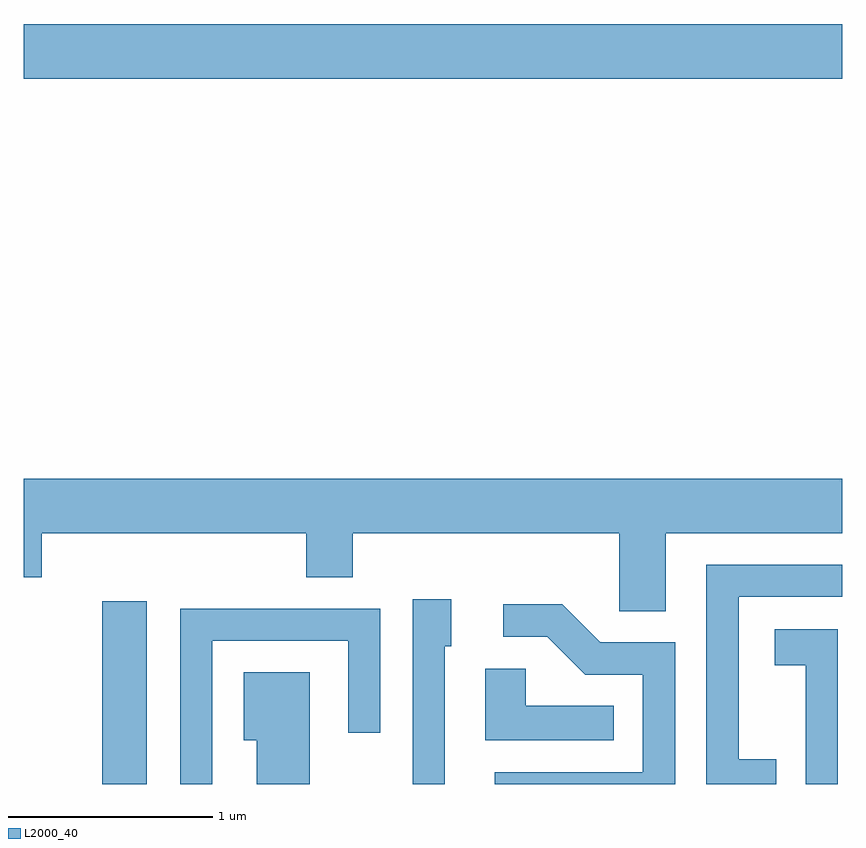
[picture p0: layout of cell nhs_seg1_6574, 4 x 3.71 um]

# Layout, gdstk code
import gdstk
lib = gdstk.Library(unit=1e-6, precision=1e-09)
def R(c, l, rs):  # rectangles x0, y0, x1, y1
    for r in rs: c.add(gdstk.rectangle(r[:2], r[2:], *l))
def P(c, l, *ps):  # polygons
    for p in ps: c.add(gdstk.Polygon(p, *l))
L2000_40 = (2000, 40)

nhs_seg1_6574 = lib.new_cell('nhs_seg1_6574')
R(nhs_seg1_6574, L2000_40, [(383.996,871.712,384.214,872.604), (383.611,875.156,387.611,875.424)])
P(nhs_seg1_6574, L2000_40, [(386.749,872.936),(387.611,872.936),(387.611,873.204),(383.611,873.204),(383.611,872.721),(383.699,872.721),(383.699,872.936),(384.991,872.936),(384.991,872.721),(385.219,872.721),(385.219,872.936),(386.521,872.936),(386.521,872.556),(386.749,872.556)],
  [(387.288,871.834),(387.104,871.834),(387.104,872.626),(387.611,872.626),(387.611,872.784),(386.946,872.784),(386.946,871.712),(387.288,871.712)],
  [(385.669,872.386),(385.699,872.386),(385.699,872.614),(385.511,872.614),(385.511,871.712),(385.669,871.712)],
  [(386.794,872.404),(386.427,872.404),(386.242,872.589),(385.953,872.589),(385.953,872.431),(386.169,872.431),(386.354,872.246),(386.636,872.246),(386.636,871.769),(385.913,871.769),(385.913,871.712),(386.794,871.712)],
  [(384.534,872.411),(385.196,872.411),(385.196,871.963),(385.354,871.963),(385.354,872.569),(384.376,872.569),(384.376,871.712),(384.534,871.712)],
  [(387.589,872.469),(387.281,872.469),(387.281,872.291),(387.431,872.291),(387.431,871.712),(387.589,871.712)],
  [(386.493,872.094),(386.064,872.094),(386.064,872.274),(385.866,872.274),(385.866,871.926),(386.493,871.926)],
  [(385.009,872.259),(384.686,872.259),(384.686,871.926),(384.751,871.926),(384.751,871.712),(385.009,871.712)])

lib.write_gds('nhs_seg1_6574.gds')
